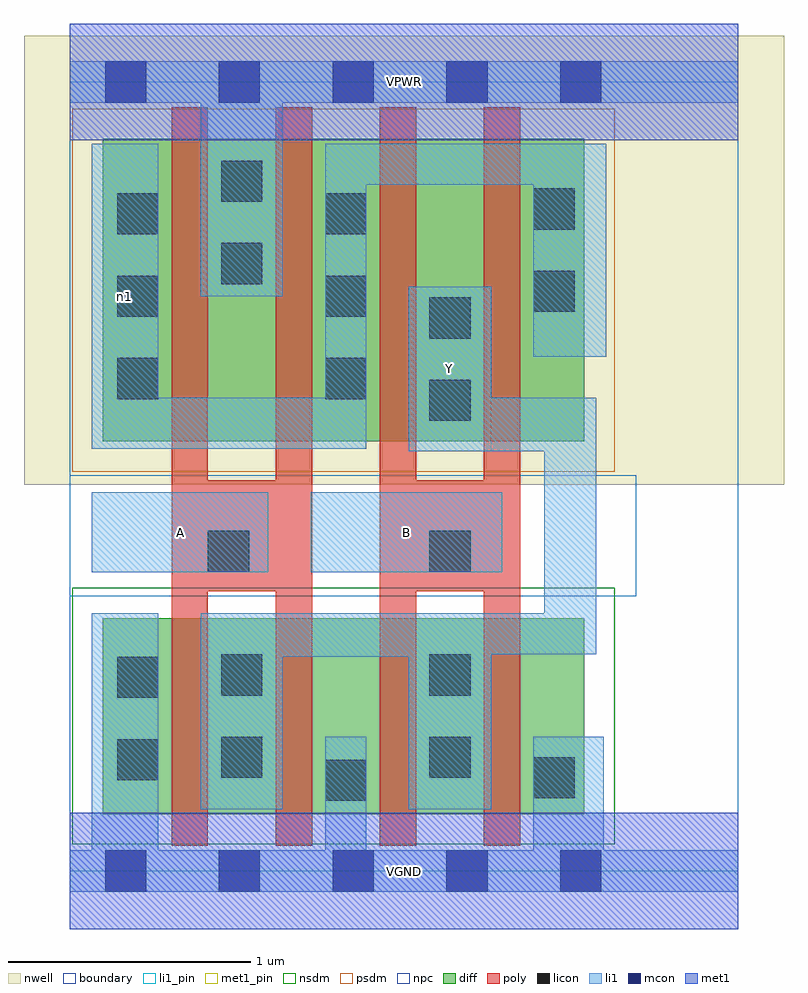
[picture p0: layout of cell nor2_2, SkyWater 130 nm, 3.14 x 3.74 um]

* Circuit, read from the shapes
.subckt nor2_2 A B VGND VPWR Y n1
XM1 Y A VGND VSUBS sky130_fd_pr__nfet_01v8 w=0.81 l=0.15 m=2
XM2 Y B VGND VSUBS sky130_fd_pr__nfet_01v8 w=0.81 l=0.15 m=2
XM3 VPWR A n1 n2 sky130_fd_pr__pfet_01v8 w=1.25 l=0.15 m=2
XM4 Y B n1 n2 sky130_fd_pr__pfet_01v8 w=1.25 l=0.15 m=2
.ends

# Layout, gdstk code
import gdstk
lib = gdstk.Library(unit=1e-6, precision=1e-09)
def R(c, l, rs):  # rectangles x0, y0, x1, y1
    for r in rs: c.add(gdstk.rectangle(r[:2], r[2:], *l))
def A(c, l, x, y, w, h, nx, ny, dx, dy):  # array of equal rectangles
    R(c, l, [(x+i*dx, y+j*dy, x+i*dx+w, y+j*dy+h) for i in range(nx) for j in range(ny)])
nwell = (64, 20)
diff = (65, 20)
poly = (66, 20)
licon = (66, 44)
li1_pin = (67, 16)
li1 = (67, 20)
mcon = (67, 44)
met1_pin = (68, 16)
met1 = (68, 20)
nsdm = (93, 44)
psdm = (94, 20)
npc = (95, 20)
boundary = (235, 4)

nor2_2 = lib.new_cell('nor2_2')
R(nor2_2, nwell, [(-0.19,1.595,2.95,3.45), (0,1.595,2.76,3.45)])
R(nor2_2, diff, [(0.135,0.235,2.125,1.045), (0.135,1.775,2.125,3.025)])
A(nor2_2, poly, 0.42, 0.105, 0.15, 3.05, 4, 1, 0.43, 0)
R(nor2_2, poly, [(0.42,1.155,1,1.615), (1.28,1.155,1.86,1.615)])
A(nor2_2, licon, 0.195, 1.95, 0.17, 0.17, 1, 3, 0, 0.34)
A(nor2_2, licon, 1.055, 1.95, 0.17, 0.17, 1, 3, 0, 0.34)
R(nor2_2, licon, [(1.055,0.29,1.225,0.46), (1.915,0.3,2.085,0.47), (0.195,0.375,0.365,0.545), (0.625,0.385,0.795,0.555), (1.485,0.385,1.655,0.555), (0.195,0.715,0.365,0.885), (0.625,0.725,0.795,0.895), (1.485,0.725,1.655,0.895), (0.57,1.235,0.74,1.405), (1.485,1.235,1.655,1.405), (1.485,1.86,1.655,2.03), (1.485,2.2,1.655,2.37), (1.915,2.31,2.085,2.48), (0.625,2.425,0.795,2.595), (1.915,2.65,2.085,2.82), (0.625,2.765,0.795,2.935)])
R(nor2_2, li1_pin, [(0.09,1.235,0.82,1.565), (0.995,1.235,1.785,1.565), (1.4,1.735,1.74,2.415)])
R(nor2_2, li1, [(0,-0.085,2.76,0.085), (0.09,-0.085,0.365,1.065), (1.055,-0.085,1.225,0.555), (1.915,-0.085,2.205,0.555), (0.54,0.255,0.88,1.065), (1.4,0.255,1.74,1.065), (0.54,0.885,1.74,1.065), (0.54,0.895,2.175,1.065), (1.96,0.895,2.175,1.955), (0.09,1.235,0.82,1.565), (0.995,1.235,1.785,1.565), (1.4,1.735,1.74,2.415), (1.4,1.735,2.175,1.955), (0.09,1.745,0.365,3.005), (0.09,1.745,1.225,1.955), (1.055,1.745,1.225,3.005), (1.915,2.125,2.215,3.005), (0.54,2.375,0.88,3.345), (1.055,2.835,2.215,3.005), (0,3.175,2.76,3.345)])
A(nor2_2, mcon, 0.145, -0.085, 0.17, 0.17, 5, 2, 0.47, 3.26)
R(nor2_2, met1_pin, [(0,-0.24,2.76,0.24), (0,3.02,2.76,3.5)])
R(nor2_2, met1, [(0,-0.24,2.76,0.24), (0,3.02,2.76,3.5)])
R(nor2_2, nsdm, [(0.01,0.11,2.25,1.17)])
R(nor2_2, psdm, [(0.01,1.65,2.25,3.15)])
R(nor2_2, npc, [(0,1.135,2.34,1.635)])
R(nor2_2, boundary, [(0,0,2.76,3.26)])
nor2_2.add(gdstk.Label('A', (0.455,1.4), layer=67, texttype=5))
nor2_2.add(gdstk.Label('B', (1.39,1.4), layer=67, texttype=5))
nor2_2.add(gdstk.Label('Y', (1.57,2.075), layer=67, texttype=5))
nor2_2.add(gdstk.Label('n1', (0.227,2.375), layer=67, texttype=5))
nor2_2.add(gdstk.Label('VPWR', (1.38,3.26), layer=68, texttype=5))
nor2_2.add(gdstk.Label('VGND', (1.38,0), layer=68, texttype=5))
nor2_2.add(gdstk.Label('A', (0.455,1.4), layer=67, texttype=16))
nor2_2.add(gdstk.Label('B', (1.39,1.4), layer=67, texttype=16))
nor2_2.add(gdstk.Label('Y', (1.57,2.075), layer=67, texttype=16))
nor2_2.add(gdstk.Label('VPWR', (1.38,3.26), layer=68, texttype=16))
nor2_2.add(gdstk.Label('VGND', (1.38,0), layer=68, texttype=16))

lib.write_gds('nor2_2.gds')
